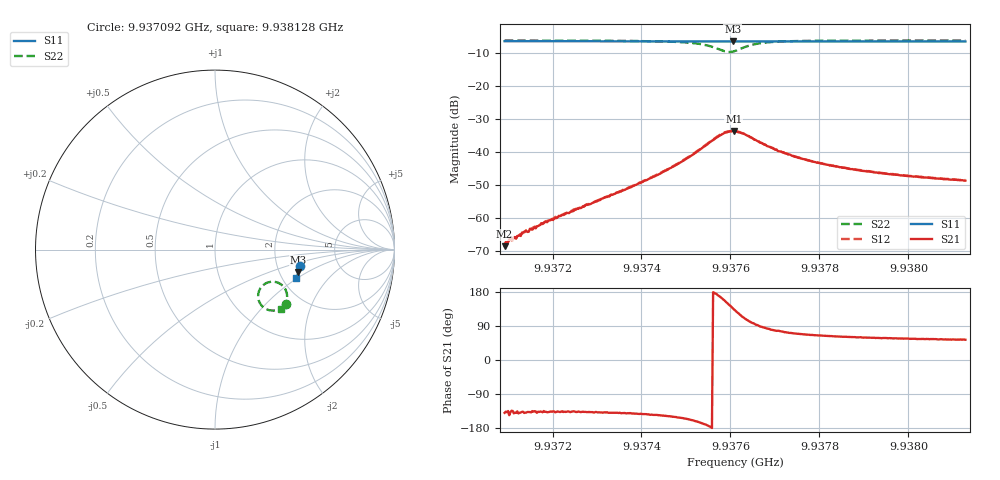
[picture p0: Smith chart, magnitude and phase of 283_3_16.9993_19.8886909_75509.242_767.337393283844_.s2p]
#  HZ  S  RI  R  50.00
! Rohde & Schwarz Vector Network Analyzer
! Rohde-Schwarz,ZNB20-2Port,1311601062101988,3.16
! Created: UTC 3/20/2024, 11:04:47 PM
! freq[Hz]  re:S11  im:S11  re:S21  im:S21  re:S12  im:S12  re:S22  im:S22
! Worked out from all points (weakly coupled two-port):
!   401 points, 9.937092 GHz to 9.938128 GHz, reference 50 ohm
!   highest |S21| = -33.63 dB at 9.937608 GHz (marker M1); lowest = -68.7 dB at 9.937092 GHz (marker M2)
!   lowest |S11| = -6.4 dB at 9.937605 GHz (marker M3), VSWR 2.84, Z = 126 - j41.5 ohm
!   |S11| at or under -10 dB: nowhere
!   |S22| runs from -9.6 to -6.1 dB; largest |S21 - S12| = 0.00095
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9.9370923e9  0.4752 -0.0936  -0.000281 -0.00024  -0.000262 -0.000271  0.3929 -0.305
9.9371001e9  0.475 -0.0943  -0.000305 -0.000309  -0.000323 -0.000276  0.3923 -0.3056
9.9371234e9  0.4746 -0.0957  -0.00041 -0.000333  -0.000411 -0.000321  0.3906 -0.3073
9.9371363e9  0.4743 -0.0967  -0.000466 -0.000395  -0.000445 -0.000399  0.3897 -0.3082
9.9371596e9  0.4739 -0.0981  -0.000508 -0.000506  -0.000549 -0.000483  0.3878 -0.3102
9.9371881e9  0.4735 -0.1001  -0.000635 -0.000574  -0.000653 -0.0006  0.3855 -0.3123
9.9372658e9  0.472 -0.1053  -0.00105 -0.000978  -0.0011 -0.000995  0.378 -0.3186
9.9373694e9  0.4699 -0.1122  -0.00214 -0.00178  -0.00222 -0.00178  0.3635 -0.3285
9.9374393e9  0.4682 -0.1172  -0.0038 -0.0026  -0.00392 -0.00259  0.3458 -0.336
9.9375014e9  0.4665 -0.1214  -0.00721 -0.0033  -0.00739 -0.0032  0.3143 -0.3396
9.9375429e9  0.4649 -0.1241  -0.0121 -0.00218  -0.0125 -0.00194  0.2743 -0.325
9.9375817e9  0.4634 -0.1259  -0.0178 0.00578  -0.0179 0.00625  0.2404 -0.2535
9.937605e9  0.4628 -0.1262  -0.0151 0.0142  -0.0147 0.0148  0.2754 -0.1926
9.9376076e9  0.4629 -0.1264  -0.0144 0.015  -0.0139 0.0156  0.2825 -0.1882
9.9376102e9  0.4631 -0.1265  -0.0135 0.0154  -0.0132 0.0162  0.2898 -0.1848
9.9376309e9  0.4632 -0.1273  -0.00663 0.0176  -0.0061 0.0178  0.3459 -0.1826
9.9376646e9  0.4634 -0.1298  7.53e-05 0.0141  0.000378 0.0143  0.3916 -0.2201
9.9377189e9  0.4625 -0.1338  0.00264 0.00957  0.00292 0.00928  0.4017 -0.2647
9.9377837e9  0.4612 -0.1385  0.0029 0.00656  0.00307 0.00655  0.3965 -0.2902
9.9378665e9  0.4592 -0.144  0.00272 0.00482  0.00283 0.00485  0.3881 -0.3073
9.9379572e9  0.457 -0.15  0.00246 0.0039  0.00258 0.00387  0.3804 -0.3189
9.938128e9  0.4524 -0.1608  0.00218 0.00294  0.00225 0.00299  0.368 -0.3332
